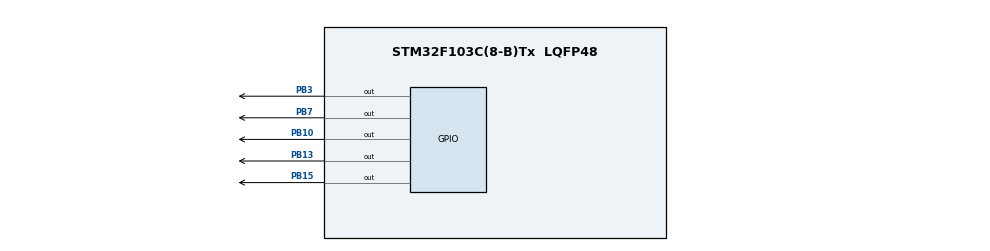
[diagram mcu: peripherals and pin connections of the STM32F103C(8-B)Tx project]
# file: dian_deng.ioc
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Mcu.Family=STM32F1
Mcu.Name=STM32F103C(8-B)Tx
Mcu.Package=LQFP48
NVIC.PriorityGroup=NVIC_PRIORITYGROUP_4
PB10.Signal=GPIO_Output
PB13.Signal=GPIO_Output
PB15.Signal=GPIO_Output
PB3.Signal=GPIO_Output
PB7.Signal=GPIO_Output
PD0-OSC_IN.Mode=HSE-External-Oscillator
PD0-OSC_IN.Signal=RCC_OSC_IN
PD1-OSC_OUT.Mode=HSE-External-Oscillator
PD1-OSC_OUT.Signal=RCC_OSC_OUT
ProjectManager.HeapSize=0x200
ProjectManager.StackSize=0x400
ProjectManager.TargetToolchain=MDK-ARM V5
RCC.APB1Freq_Value=8000000
RCC.APB2Freq_Value=8000000
VP_SYS_VS_ND.Mode=No_Debug
board=custom

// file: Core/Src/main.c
/* USER CODE BEGIN Header */
/**
  ******************************************************************************
  * @file           : main.c
  * @brief          : Main program body
  ******************************************************************************
  * @attention
  *
  * Copyright (c) 2023 STMicroelectronics.
  * All rights reserved.
  *
  * This software is licensed under terms that can be found in the LICENSE file
  * in the root directory of this software component.
  * If no LICENSE file comes with this software, it is provided AS-IS.
  *
  ******************************************************************************
  */
/* USER CODE END Header */
#include "main.h"
#include "gpio.h"

void SystemClock_Config(void);

int main(void)
{

  /* MCU Configuration--------------------------------------------------------*/

  /* Reset of all peripherals, Initializes the Flash interface and the Systick. */
  HAL_Init();

  /* Configure the system clock */
  SystemClock_Config();

  /* Initialize all configured peripherals */
  MX_GPIO_Init();

  /* Infinite loop */
  while (1)
  {

    /* USER CODE BEGIN 3 */
		HAL_GPIO_TogglePin(GPIOB, GPIO_PIN_15);
		HAL_Delay(1000);
		HAL_GPIO_TogglePin(GPIOB, GPIO_PIN_15);
		HAL_GPIO_TogglePin(GPIOB, GPIO_PIN_13);
		HAL_Delay(1000);
		HAL_GPIO_TogglePin(GPIOB, GPIO_PIN_13);
		HAL_GPIO_TogglePin(GPIOB, GPIO_PIN_10);
		HAL_Delay(1000);
		HAL_GPIO_TogglePin(GPIOB, GPIO_PIN_10);
		HAL_GPIO_TogglePin(GPIOB, GPIO_PIN_7);
		HAL_Delay(1000);
		HAL_GPIO_TogglePin(GPIOB, GPIO_PIN_7);
		HAL_GPIO_TogglePin(GPIOB, GPIO_PIN_3);
		HAL_Delay(1000);
		HAL_GPIO_TogglePin(GPIOB, GPIO_PIN_3);
		HAL_GPIO_TogglePin(GPIOB, GPIO_PIN_7);
		HAL_Delay(1000);
		HAL_GPIO_TogglePin(GPIOB, GPIO_PIN_7);
		HAL_GPIO_TogglePin(GPIOB, GPIO_PIN_10);
		HAL_Delay(1000);
		HAL_GPIO_TogglePin(GPIOB, GPIO_PIN_10);
		HAL_GPIO_TogglePin(GPIOB, GPIO_PIN_13);
		HAL_Delay(1000);
		HAL_GPIO_TogglePin(GPIOB, GPIO_PIN_13);
  }
  /* USER CODE END 3 */
}

void SystemClock_Config(void)
{
  RCC_OscInitTypeDef RCC_OscInitStruct = {0};
  RCC_ClkInitTypeDef RCC_ClkInitStruct = {0};

  /** Initializes the RCC Oscillators according to the specified parameters
  * in the RCC_OscInitTypeDef structure.
  */
  RCC_OscInitStruct.OscillatorType = RCC_OSCILLATORTYPE_HSI;
  RCC_OscInitStruct.HSIState = RCC_HSI_ON;
  RCC_OscInitStruct.HSICalibrationValue = RCC_HSICALIBRATION_DEFAULT;
  RCC_OscInitStruct.PLL.PLLState = RCC_PLL_NONE;
  if (HAL_RCC_OscConfig(&RCC_OscInitStruct) != HAL_OK)
  {
    Error_Handler();
  }

  /** Initializes the CPU, AHB and APB buses clocks
  */
  RCC_ClkInitStruct.ClockType = RCC_CLOCKTYPE_HCLK|RCC_CLOCKTYPE_SYSCLK
                              |RCC_CLOCKTYPE_PCLK1|RCC_CLOCKTYPE_PCLK2;
  RCC_ClkInitStruct.SYSCLKSource = RCC_SYSCLKSOURCE_HSI;
  RCC_ClkInitStruct.AHBCLKDivider = RCC_SYSCLK_DIV1;
  RCC_ClkInitStruct.APB1CLKDivider = RCC_HCLK_DIV1;
  RCC_ClkInitStruct.APB2CLKDivider = RCC_HCLK_DIV1;

  if (HAL_RCC_ClockConfig(&RCC_ClkInitStruct, FLASH_LATENCY_0) != HAL_OK)
  {
    Error_Handler();
  }
}

void Error_Handler(void)
{
  __disable_irq();
  while (1)
  {
  }
}
